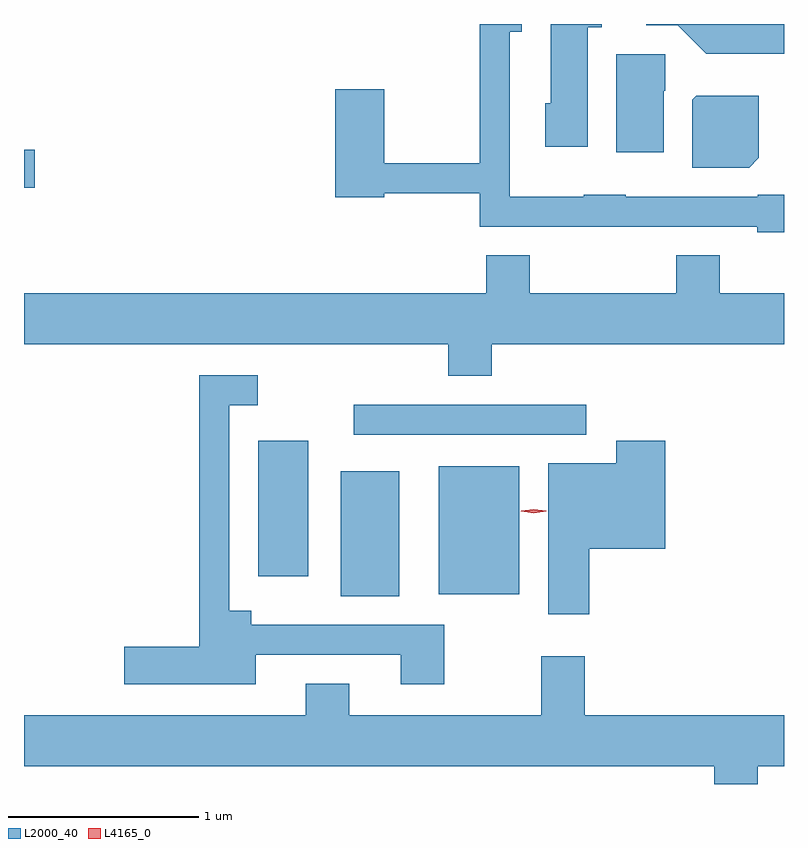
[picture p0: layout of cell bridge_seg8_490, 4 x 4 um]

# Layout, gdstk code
import gdstk
lib = gdstk.Library(unit=1e-6, precision=1e-09)
def R(c, l, rs):  # rectangles x0, y0, x1, y1
    for r in rs: c.add(gdstk.rectangle(r[:2], r[2:], *l))
def P(c, l, *ps):  # polygons
    for p in ps: c.add(gdstk.Polygon(p, *l))
L2000_40 = (2000, 40)
L4165_0 = (4165, 0)

bridge_seg8_490 = lib.new_cell('bridge_seg8_490')
R(bridge_seg8_490, L2000_40, [(410.286,1879.491,410.594,1880.149), (410.801,1879.501,411.224,1880.174), (409.851,1879.596,410.114,1880.309), (410.353,1880.341,411.578,1880.499), (408.618,1881.641,408.674,1881.839)])
P(bridge_seg8_490, L2000_40, [(411.584,1882.486),(411.659,1882.486),(411.659,1882.502),(411.391,1882.502),(411.391,1882.084),(411.361,1882.084),(411.361,1881.856),(411.584,1881.856)],
  [(412.618,1882.502),(411.893,1882.502),(411.893,1882.496),(412.059,1882.496),(412.209,1882.346),(412.618,1882.346)],
  [(412.618,1881.604),(412.48,1881.604),(412.48,1881.594),(411.785,1881.594),(411.785,1881.604),(411.565,1881.604),(411.565,1881.594),(411.174,1881.594),(411.174,1882.461),(411.239,1882.461),(411.239,1882.502),(411.016,1882.502),(411.016,1881.769),(410.514,1881.769),(410.514,1882.159),(410.256,1882.159),(410.256,1881.591),(410.514,1881.591),(410.514,1881.611),(411.016,1881.611),(411.016,1881.436),(412.476,1881.436),(412.476,1881.406),(412.618,1881.406)],
  [(411.984,1882.15),(411.994,1882.15),(411.994,1882.344),(411.736,1882.344),(411.736,1881.826),(411.984,1881.826)],
  [(412.484,1881.797),(412.484,1882.124),(412.157,1882.124),(412.136,1882.104),(412.136,1881.746),(412.434,1881.746)],
  [(411.079,1880.816),(412.618,1880.816),(412.618,1881.084),(412.279,1881.084),(412.279,1881.284),(412.051,1881.284),(412.051,1881.084),(411.279,1881.084),(411.279,1881.284),(411.051,1881.284),(411.051,1881.084),(408.618,1881.084),(408.618,1880.816),(410.851,1880.816),(410.851,1880.651),(411.079,1880.651)],
  [(409.839,1879.181),(410.601,1879.181),(410.601,1879.026),(410.829,1879.026),(410.829,1879.339),(409.814,1879.339),(409.814,1879.414),(409.699,1879.414),(409.699,1880.496),(409.848,1880.496),(409.848,1880.654),(409.541,1880.654),(409.541,1879.224),(409.146,1879.224),(409.146,1879.026),(409.839,1879.026)],
  [(411.594,1879.741),(411.994,1879.741),(411.994,1880.309),(411.736,1880.309),(411.736,1880.189),(411.376,1880.189),(411.376,1879.396),(411.594,1879.396)],
  [(412.479,1878.596),(412.618,1878.596),(412.618,1878.864),(411.569,1878.864),(411.569,1879.174),(411.341,1879.174),(411.341,1878.864),(410.329,1878.864),(410.329,1879.029),(410.101,1879.029),(410.101,1878.864),(408.618,1878.864),(408.618,1878.596),(412.251,1878.596),(412.251,1878.502),(412.479,1878.502)])
P(bridge_seg8_490, L4165_0, [(411.3,1879.928),(411.234,1879.938),(411.233,1879.938),(411.234,1879.939),(411.3,1879.948),(411.366,1879.939),(411.367,1879.938),(411.366,1879.938)])

lib.write_gds('bridge_seg8_490.gds')
